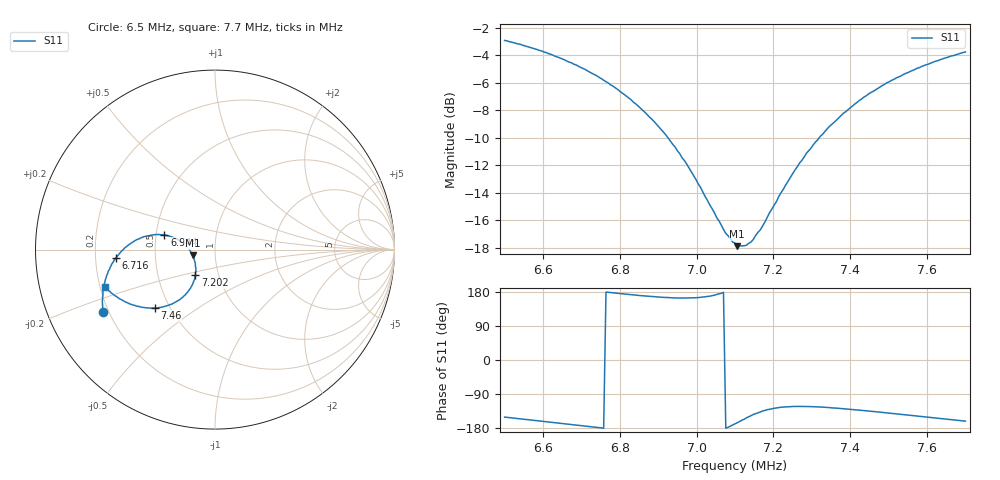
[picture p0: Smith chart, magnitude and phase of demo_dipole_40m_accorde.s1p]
! Dipole 40 m accorde (~7.12 MHz), 20 m de RG213
! Fichier de demonstration simule - Analyseur ROS NanoVNA F4CVQ
# HZ S RI R 50
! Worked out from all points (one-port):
!   201 points, 6.5 MHz to 7.7 MHz, reference 50 ohm
!   lowest |S11| = -17.9 dB at 7.106 MHz (marker M1), VSWR 1.29, Z = 38.9 - j2.53 ohm
!   |S11| at or under -10 dB: 6.926 MHz to 7.319 MHz (393.4 kHz wide, 5.52 % of centre)
!   S11 on the Smith chart (normalised r, x): 6.5 MHz: 0.18, -0.25; 6.716 MHz: 0.29, -0.04; 6.944 MHz: 0.55, +0.10; 7.202 MHz: 0.77, -0.23; 7.46 MHz: 0.41, -0.34; 7.7 MHz: 0.22, -0.16
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6500000  -0.6229 -0.349
6578000  -0.6245 -0.2327
6650000  -0.5977 -0.1313
6716000  -0.5516 -0.0459
6800000  -0.4651 0.0369
6866000  -0.3837 0.0747
6908000  -0.3279 0.0843
6944000  -0.2815 0.0812
6950000  -0.2721 0.0805
6974000  -0.244 0.0713
7004000  -0.2078 0.0569
7076000  -0.1422 -0.000246
7094000  -0.1308 -0.0192
7100000  -0.1285 -0.0263
7106000  -0.1237 -0.032
7130000  -0.1142 -0.0596
7142000  -0.1108 -0.0725
7166000  -0.1075 -0.0996
7202000  -0.1094 -0.1432
7250000  -0.1261 -0.1973
7286000  -0.1503 -0.2338
7322000  -0.1795 -0.2653
7400000  -0.261 -0.3107
7460000  -0.3351 -0.3248
7496000  -0.3821 -0.3252
7550000  -0.4486 -0.3104
7622000  -0.5344 -0.2722
7700000  -0.6144 -0.2083
